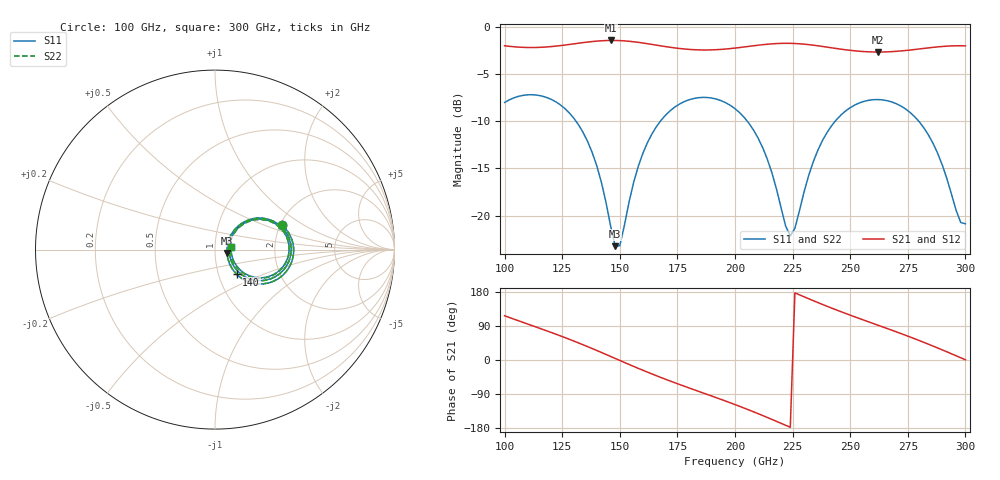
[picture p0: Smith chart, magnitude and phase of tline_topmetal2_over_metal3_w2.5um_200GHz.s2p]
#  GHZ S DB R 50
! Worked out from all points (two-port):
!   101 points, 100 GHz to 300 GHz, reference 50 ohm
!   highest |S21| = -1.39 dB at 146 GHz (marker M1); lowest = -2.6 dB at 262 GHz (marker M2)
!   |S21| within 3 dB of the highest: start of sweep to end of sweep
!   lowest |S11| = -23.3 dB at 148 GHz (marker M3), VSWR 1.15, Z = 57.1 - j2.07 ohm
!   |S11| at or under -10 dB: 131 GHz to 167.6 GHz (36.51 GHz wide, 24.5 % of centre); 205.4 GHz to 243.4 GHz (38.03 GHz wide, 16.9 % of centre); 279.8 GHz to end of sweep
!   |S22| runs from -23.2 to -7.2 dB; largest |S21 - S12| = 9.8e-14
!   S11 on the Smith chart (normalised r, x): 100 GHz: 2.06, +0.66; 140 GHz: 1.22, -0.35; 300 GHz: 1.20, +0.03
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100  -7.99 19.8  -1.96 116.7  -1.96 116.7  -7.99 19.9
110  -7.17 1.3  -2.14 94.9  -2.14 94.9  -7.18 1.4
118  -7.43 -13.5  -2.09 77.6  -2.09 77.6  -7.44 -13.4
134  -11.14 -42.1  -1.63 40.4  -1.63 40.4  -11.14 -42.1
140  -14.72 -48.8  -1.47 25.1  -1.47 25.1  -14.71 -48.6
146  -21.10 -35.8  -1.39 9.4  -1.39 9.4  -21.06 -35.5
148  -23.26 -15.2  -1.40 4.1  -1.40 4.1  -23.18 -15.1
150  -23.21 13.1  -1.41 -1.2  -1.41 -1.2  -23.14 12.9
156  -16.49 45.5  -1.53 -16.9  -1.53 -16.9  -16.47 45.2
160  -13.40 44.4  -1.66 -27.1  -1.66 -27.1  -13.39 44.1
168  -9.85 32.9  -1.98 -46.5  -1.98 -46.5  -9.85 32.7
184  -7.48 4.6  -2.39 -82.3  -2.39 -82.3  -7.48 4.4
200  -8.65 -23.9  -2.20 -117.6  -2.20 -117.6  -8.64 -24.1
212  -12.78 -42.0  -1.85 -146.5  -1.85 -146.5  -12.77 -42.0
224  -22.16 -1.6  -1.70 -177.6  -1.70 -177.6  -22.04 -1.9
234  -14.26 43.1  -1.90 156.5  -1.90 156.5  -14.24 42.5
248  -8.89 24.7  -2.39 122.9  -2.39 122.9  -8.89 24.1
262  -7.67 0.5  -2.62 91.9  -2.62 91.9  -7.67 -0.1
268  -7.93 -9.8  -2.58 78.8  -2.58 78.8  -7.93 -10.5
284  -11.45 -35.2  -2.18 41.6  -2.18 41.6  -11.46 -36.0
298  -20.75 -9.9  -1.96 5.9  -1.96 5.9  -20.90 -10.8
300  -20.88 8.5  -1.97 0.6  -1.97 0.6  -21.04 8.0
